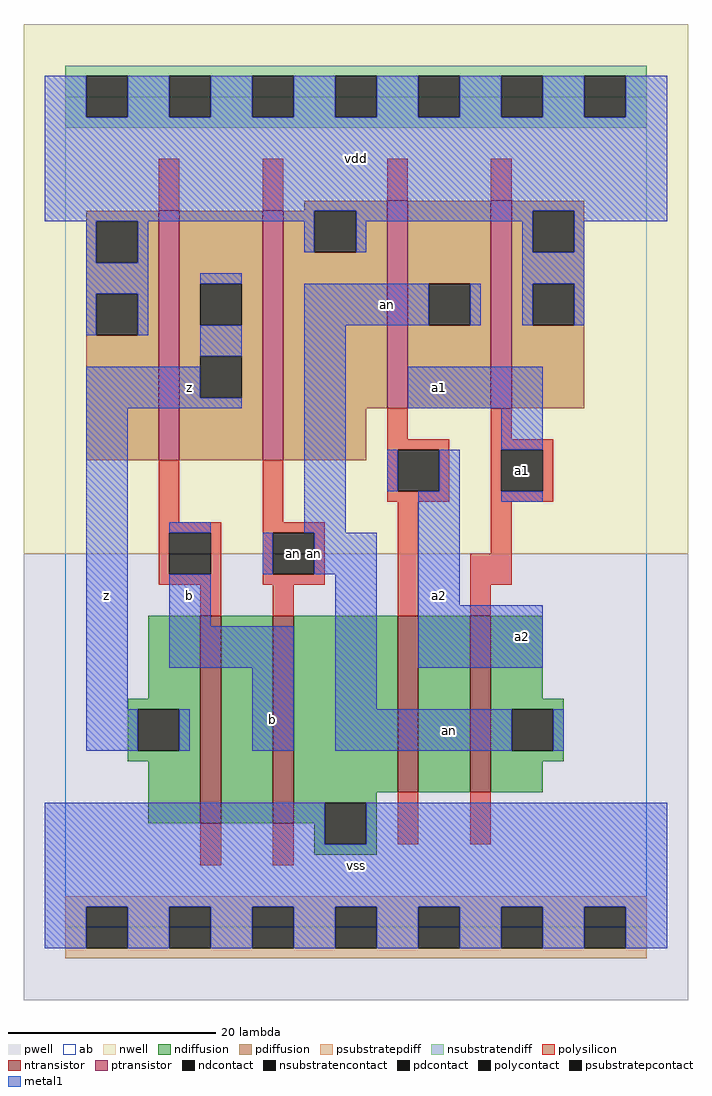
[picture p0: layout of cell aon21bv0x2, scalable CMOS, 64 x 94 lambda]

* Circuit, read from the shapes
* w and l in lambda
.subckt aon21bv0x2 a1 a2 an b vdd vss z
M1 n1 b z vss nfet w=20 l=2
M2 vss an n1 vss nfet w=20 l=2
M3 n2 a2 vss vss nfet w=17 l=2
M4 an a1 n2 vss nfet w=17 l=2
M5 z b vdd vdd pfet w=24 l=2
M6 vdd an z vdd pfet w=24 l=2
M7 an a2 vdd vdd pfet w=20 l=2
M8 vdd a1 an vdd pfet w=20 l=2
.ends

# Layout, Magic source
magic
tech scmos
<< ab >>
rect 0 0 56 80
<< pwell >>
rect -4 -7 60 36
<< nwell >>
rect -4 36 60 87
<< polysilicon >>
rect 9 69 11 74
rect 19 69 21 74
rect 31 70 33 74
rect 41 70 43 74
rect 31 47 33 50
rect 41 47 43 50
rect 31 46 37 47
rect 9 39 11 45
rect 19 39 21 45
rect 31 42 32 46
rect 36 42 37 46
rect 31 41 37 42
rect 41 46 47 47
rect 41 42 42 46
rect 46 42 47 46
rect 41 41 47 42
rect 9 38 15 39
rect 9 34 10 38
rect 14 34 15 38
rect 9 33 15 34
rect 19 38 25 39
rect 19 34 20 38
rect 24 34 25 38
rect 19 33 25 34
rect 13 30 15 33
rect 20 30 22 33
rect 32 30 34 41
rect 41 36 43 41
rect 39 33 43 36
rect 39 30 41 33
rect 13 6 15 10
rect 20 6 22 10
rect 32 8 34 13
rect 39 8 41 13
<< ndiffusion >>
rect 8 22 13 30
rect 6 21 13 22
rect 6 17 7 21
rect 11 17 13 21
rect 6 16 13 17
rect 8 10 13 16
rect 15 10 20 30
rect 22 13 32 30
rect 34 13 39 30
rect 41 22 46 30
rect 41 21 48 22
rect 41 17 43 21
rect 47 17 48 21
rect 41 16 48 17
rect 41 13 46 16
rect 22 12 30 13
rect 22 10 25 12
rect 24 8 25 10
rect 29 8 30 12
rect 24 7 30 8
<< pdiffusion >>
rect 23 69 31 70
rect 2 68 9 69
rect 2 64 3 68
rect 7 64 9 68
rect 2 61 9 64
rect 2 57 3 61
rect 7 57 9 61
rect 2 45 9 57
rect 11 62 19 69
rect 11 58 13 62
rect 17 58 19 62
rect 11 55 19 58
rect 11 51 13 55
rect 17 51 19 55
rect 11 45 19 51
rect 21 65 24 69
rect 28 65 31 69
rect 21 50 31 65
rect 33 62 41 70
rect 33 58 35 62
rect 39 58 41 62
rect 33 50 41 58
rect 43 69 50 70
rect 43 65 45 69
rect 49 65 50 69
rect 43 62 50 65
rect 43 58 45 62
rect 49 58 50 62
rect 43 50 50 58
rect 21 45 29 50
<< metal1 >>
rect -2 78 2 82
rect 6 78 10 82
rect 14 78 18 82
rect 22 78 26 82
rect 30 78 34 82
rect 38 78 42 82
rect 46 78 50 82
rect 54 78 58 82
rect -2 69 58 78
rect -2 68 24 69
rect 2 64 3 68
rect 7 64 8 68
rect 23 65 24 68
rect 28 68 45 69
rect 28 65 29 68
rect 44 65 45 68
rect 49 68 58 69
rect 49 65 50 68
rect 2 61 8 64
rect 2 57 3 61
rect 7 57 8 61
rect 13 62 17 63
rect 44 62 50 65
rect 13 55 17 58
rect 2 51 13 54
rect 2 50 17 51
rect 23 58 35 62
rect 39 58 40 62
rect 44 58 45 62
rect 49 58 50 62
rect 2 21 6 50
rect 10 38 14 39
rect 23 38 27 58
rect 33 50 46 54
rect 42 46 46 50
rect 31 42 32 46
rect 36 42 38 46
rect 19 34 20 38
rect 24 34 30 38
rect 10 29 14 34
rect 10 25 22 29
rect 2 17 7 21
rect 11 17 12 21
rect 18 17 22 25
rect 26 21 30 34
rect 34 31 38 42
rect 42 41 46 42
rect 34 25 46 31
rect 26 17 43 21
rect 47 17 48 21
rect -2 8 25 12
rect 29 8 58 12
rect -2 2 58 8
rect -2 -2 2 2
rect 6 -2 10 2
rect 14 -2 18 2
rect 22 -2 26 2
rect 30 -2 34 2
rect 38 -2 42 2
rect 46 -2 50 2
rect 54 -2 58 2
<< ntransistor >>
rect 13 10 15 30
rect 20 10 22 30
rect 32 13 34 30
rect 39 13 41 30
<< ptransistor >>
rect 9 45 11 69
rect 19 45 21 69
rect 31 50 33 70
rect 41 50 43 70
<< polycontact >>
rect 32 42 36 46
rect 42 42 46 46
rect 10 34 14 38
rect 20 34 24 38
<< ndcontact >>
rect 7 17 11 21
rect 43 17 47 21
rect 25 8 29 12
<< pdcontact >>
rect 3 64 7 68
rect 3 57 7 61
rect 13 58 17 62
rect 13 51 17 55
rect 24 65 28 69
rect 35 58 39 62
rect 45 65 49 69
rect 45 58 49 62
<< psubstratepcontact >>
rect 2 -2 6 2
rect 10 -2 14 2
rect 18 -2 22 2
rect 26 -2 30 2
rect 34 -2 38 2
rect 42 -2 46 2
rect 50 -2 54 2
<< nsubstratencontact >>
rect 2 78 6 82
rect 10 78 14 82
rect 18 78 22 82
rect 26 78 30 82
rect 34 78 38 82
rect 42 78 46 82
rect 50 78 54 82
<< psubstratepdiff >>
rect 0 2 56 3
rect 0 -2 2 2
rect 6 -2 10 2
rect 14 -2 18 2
rect 22 -2 26 2
rect 30 -2 34 2
rect 38 -2 42 2
rect 46 -2 50 2
rect 54 -2 56 2
rect 0 -3 56 -2
<< nsubstratendiff >>
rect 0 82 56 83
rect 0 78 2 82
rect 6 78 10 82
rect 14 78 18 82
rect 22 78 26 82
rect 30 78 34 82
rect 38 78 42 82
rect 46 78 50 82
rect 54 78 56 82
rect 0 77 56 78
<< labels >>
rlabel polycontact 22 36 22 36 6 an
rlabel metal1 4 32 4 32 6 z
rlabel metal1 20 20 20 20 6 b
rlabel metal1 12 32 12 32 6 b
rlabel metal1 12 52 12 52 6 z
rlabel metal1 28 6 28 6 6 vss
rlabel metal1 24 36 24 36 6 an
rlabel metal1 36 32 36 32 6 a2
rlabel metal1 36 52 36 52 6 a1
rlabel metal1 31 60 31 60 6 an
rlabel metal1 28 74 28 74 6 vdd
rlabel metal1 37 19 37 19 6 an
rlabel metal1 44 28 44 28 6 a2
rlabel polycontact 44 44 44 44 6 a1
<< end >>
